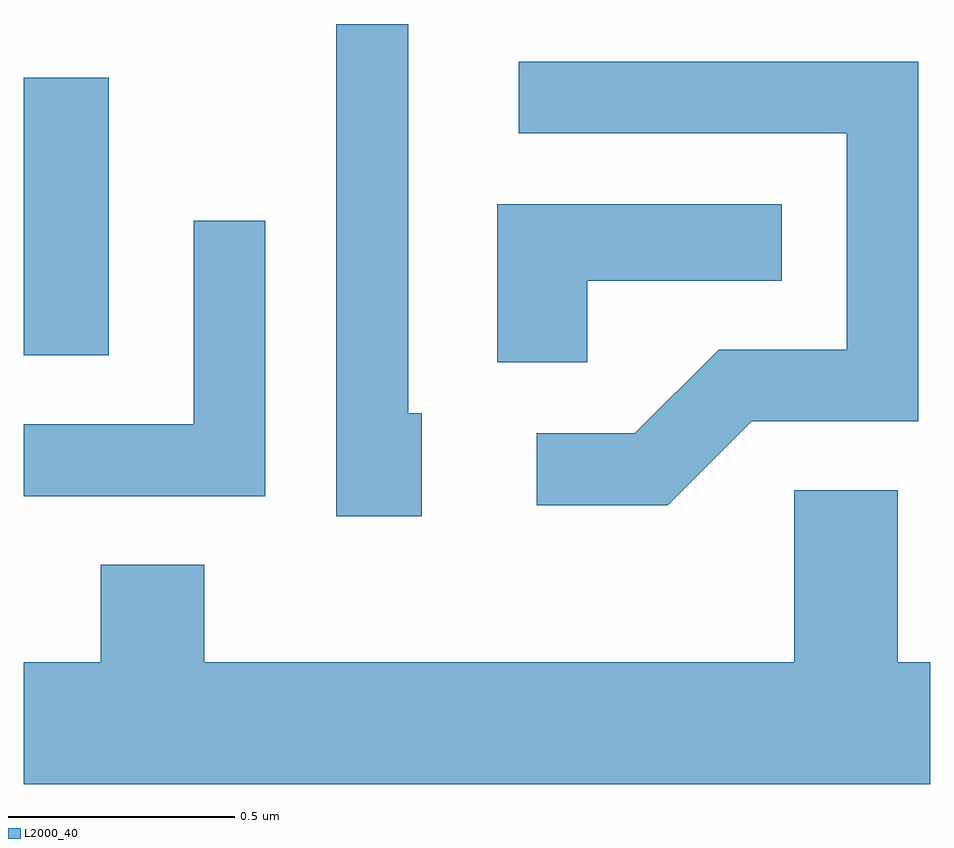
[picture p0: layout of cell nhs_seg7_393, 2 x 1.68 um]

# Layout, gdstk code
import gdstk
lib = gdstk.Library(unit=1e-6, precision=1e-09)
def R(c, l, rs):  # rectangles x0, y0, x1, y1
    for r in rs: c.add(gdstk.rectangle(r[:2], r[2:], *l))
def P(c, l, *ps):  # polygons
    for p in ps: c.add(gdstk.Polygon(p, *l))
L2000_40 = (2000, 40)

nhs_seg7_393 = lib.new_cell('nhs_seg7_393')
R(nhs_seg7_393, L2000_40, [(187.611,1788.521,187.799,1789.134)])
P(nhs_seg7_393, L2000_40, [(188.489,1788.394),(188.459,1788.394),(188.459,1789.252),(188.301,1789.252),(188.301,1788.166),(188.489,1788.166)],
  [(189.217,1788.376),(189.584,1788.376),(189.584,1789.169),(188.703,1789.169),(188.703,1789.011),(189.426,1789.011),(189.426,1788.534),(189.144,1788.534),(188.959,1788.349),(188.743,1788.349),(188.743,1788.191),(189.032,1788.191)],
  [(188.854,1788.686),(189.283,1788.686),(189.283,1788.854),(188.656,1788.854),(188.656,1788.506),(188.854,1788.506)],
  [(188.144,1788.818),(187.986,1788.818),(187.986,1788.369),(187.611,1788.369),(187.611,1788.211),(188.144,1788.211)],
  [(189.611,1787.844),(189.539,1787.844),(189.539,1788.224),(189.311,1788.224),(189.311,1787.844),(188.009,1787.844),(188.009,1788.059),(187.781,1788.059),(187.781,1787.844),(187.611,1787.844),(187.611,1787.576),(189.611,1787.576)])

lib.write_gds('nhs_seg7_393.gds')
